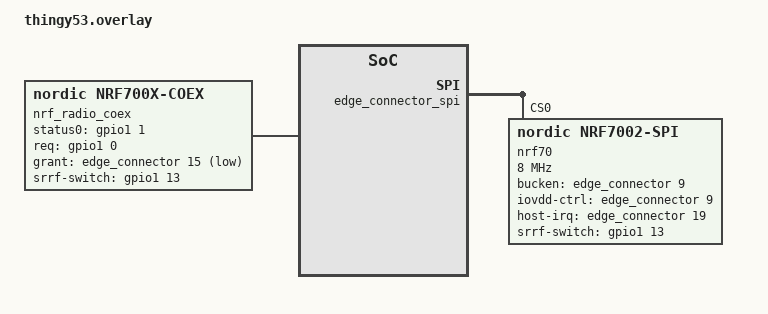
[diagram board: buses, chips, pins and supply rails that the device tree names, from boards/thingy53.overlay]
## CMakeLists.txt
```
cmake_minimum_required(VERSION 3.20.0)
find_package(Zephyr REQUIRED HINTS $ENV{ZEPHYR_BASE})

project(Nordic)

target_sources(app PRIVATE
  src/main.c
  src/led.c
  src/wifi.c
  src/sensor.c
  src/telemetry.c
)
```

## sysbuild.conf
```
SB_CONFIG_NETCORE_NONE=y
SB_CONFIG_SECURE_BOOT_NETCORE=n
SB_CONFIG_WIFI_NRF70=y
```

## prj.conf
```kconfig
CONFIG_SENSOR=y

CONFIG_LED=y
CONFIG_LED_GPIO=y

CONFIG_I2C=y
CONFIG_SPI=y
CONFIG_GPIO=y

# BME688 / BSEC IAQ
CONFIG_BME680=n
CONFIG_BME68X_IAQ=y
CONFIG_FPU=y

# Settings / flash
CONFIG_SETTINGS=y
CONFIG_SETTINGS_FCB=y
CONFIG_FCB=y
CONFIG_FLASH=y
CONFIG_FLASH_PAGE_LAYOUT=y
CONFIG_FLASH_MAP=y
CONFIG_STREAM_FLASH=y
CONFIG_MPU_ALLOW_FLASH_WRITE=y

# Console
CONFIG_CONSOLE=y
CONFIG_UART_CONSOLE=y

# Logging
CONFIG_LOG=y
CONFIG_LOG_DEFAULT_LEVEL=3
CONFIG_NET_LOG=y

# Wi-Fi / nRF7002EB
CONFIG_WIFI=y
CONFIG_WIFI_NRF70=y
CONFIG_WIFI_READY_LIB=y

# WPA supplicant
CONFIG_WIFI_NM_WPA_SUPPLICANT=y

# Wi-Fi credentials
CONFIG_WIFI_CREDENTIALS=y
CONFIG_WIFI_CREDENTIALS_BACKEND_SETTINGS=y
CONFIG_WIFI_CREDENTIALS_MAX_ENTRIES=1

# Networking
CONFIG_NETWORKING=y
CONFIG_NET_L2_WIFI_MGMT=y
CONFIG_NET_L2_ETHERNET=y
CONFIG_NET_IPV4=y
CONFIG_NET_IPV6=n
CONFIG_NET_TCP=y
CONFIG_NET_UDP=y
CONFIG_NET_SOCKETS=y
CONFIG_NET_SOCKETS_DNS_TIMEOUT=5000
CONFIG_NET_SOCKETS_CONNECT_TIMEOUT=10000
CONFIG_NET_SOCKETS_LOG_LEVEL_DBG=y
CONFIG_NET_MAX_CONN=16
CONFIG_NET_DHCPV4=y

CONFIG_NET_MGMT=y
CONFIG_NET_MGMT_EVENT=y

# HTTP
CONFIG_HTTP_CLIENT=y
CONFIG_NET_HTTP_LOG_LEVEL_DBG=y

# TLS
CONFIG_MAIN_STACK_SIZE=8192
CONFIG_NET_SOCKETS_SOCKOPT_TLS=y
CONFIG_NET_SOCKETS_TLS_CONNECT_TIMEOUT=10000
CONFIG_MBEDTLS=y
CONFIG_MBEDTLS_HEAP_SIZE=81920
CONFIG_MBEDTLS_SSL_MAX_CONTENT_LEN=4096
CONFIG_MBEDTLS_SSL_SERVER_NAME_INDICATION=y
CONFIG_MBEDTLS_LEGACY_CRYPTO_C=y
CONFIG_MBEDTLS_RSA_C=y
CONFIG_MBEDTLS_PKCS1_V15=y
CONFIG_MBEDTLS_ECDH_C=y
CONFIG_MBEDTLS_ECDSA_C=y
CONFIG_MBEDTLS_ECP_DP_SECP256R1_ENABLED=y
CONFIG_MBEDTLS_ECP_DP_SECP384R1_ENABLED=y
CONFIG_MBEDTLS_KEY_EXCHANGE_ECDHE_RSA_ENABLED=y
CONFIG_MBEDTLS_KEY_EXCHANGE_ECDHE_ECDSA_ENABLED=y
CONFIG_MBEDTLS_MPI_MAX_SIZE=512
CONFIG_PSA_WANT_KEY_TYPE_ECC_KEY_PAIR_IMPORT=y
CONFIG_PSA_WANT_KEY_TYPE_ECC_KEY_PAIR_EXPORT=y
CONFIG_PSA_WANT_KEY_TYPE_ECC_KEY_PAIR_GENERATE=y
CONFIG_PSA_WANT_KEY_TYPE_ECC_KEY_PAIR_DERIVE=y
CONFIG_PSA_WANT_KEY_TYPE_RSA_KEY_PAIR_IMPORT=y
CONFIG_PSA_WANT_KEY_TYPE_RSA_KEY_PAIR_EXPORT=y
CONFIG_PSA_WANT_KEY_TYPE_RSA_KEY_PAIR_GENERATE=y
CONFIG_PSA_WANT_ECC_SECP_R1_256=y
CONFIG_PSA_WANT_ALG_ECDH=y
CONFIG_PSA_WANT_ALG_ECDSA=y

# DNS
CONFIG_DNS_RESOLVER=y
CONFIG_DNS_SERVER_IP_ADDRESSES=y
```

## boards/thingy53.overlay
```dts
/*
 * Thingy:53 + nRF7002EB
 *
 * Adapted from:
 * https://github.com/Natthakorn05/thingy53-gift
 */

#include <freq.h>

/*
 * nRF7002 radio coexistence
 *
 * These GPIOs are used by the Thingy:53/nRF7002EB
 * short-range radio coexistence interface.
 */
 / {
    nrf_radio_coex: nrf7002-coex {
        status = "okay";
        compatible = "nordic,nrf700x-coex";

        status0-gpios =
            <&gpio1 1 GPIO_ACTIVE_HIGH>;

        req-gpios =
            <&gpio1 0 GPIO_ACTIVE_HIGH>;

        grant-gpios =
            <&edge_connector 15
             (GPIO_PULL_DOWN | GPIO_ACTIVE_LOW)>;

        srrf-switch-gpios =
            <&gpio1 13 GPIO_ACTIVE_HIGH>;
    };

    chosen {
        zephyr,wifi = &wlan0;
    };
};

/*
 * These Thingy:53 peripherals conflict with
 * the nRF7002EB interface.
 */
&npm1100_force_pwm_mode {
    status = "disabled";
};

&uart0 {
    status = "disabled";
};

/*
 * nRF7002EB connected through the Thingy:53
 * edge connector SPI interface.
 */
&edge_connector_spi {
    status = "okay";

    nrf70: nrf7002@0 {
        compatible = "nordic,nrf7002-spi";
        status = "okay";
        reg = <0>;
        spi-max-frequency = <DT_FREQ_M(8)>;

        bucken-gpios =
            <&edge_connector 9
             (GPIO_ACTIVE_HIGH | GPIO_PULL_DOWN)>;

        iovdd-ctrl-gpios =
            <&edge_connector 9
             (GPIO_ACTIVE_HIGH | GPIO_PULL_DOWN)>;

        host-irq-gpios =
            <&edge_connector 19 GPIO_ACTIVE_HIGH>;

        srrf-switch-gpios =
            <&gpio1 13 GPIO_ACTIVE_HIGH>;

        wlan0: wlan0 {
            compatible = "nordic,wlan";
        };

        wlan1: wlan1 {
            compatible = "nordic,wlan";
        };

        wifi-max-tx-pwr-2g-dsss = <21>;
        wifi-max-tx-pwr-2g-mcs0 = <16>;
        wifi-max-tx-pwr-2g-mcs7 = <16>;

        wifi-max-tx-pwr-5g-low-mcs0 = <13>;
        wifi-max-tx-pwr-5g-low-mcs7 = <13>;

        wifi-max-tx-pwr-5g-mid-mcs0 = <13>;
        wifi-max-tx-pwr-5g-mid-mcs7 = <13>;

        wifi-max-tx-pwr-5g-high-mcs0 = <12>;
        wifi-max-tx-pwr-5g-high-mcs7 = <12>;
    };
};
```

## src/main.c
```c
#include <stdio.h>
#include <stdint.h>
#include <errno.h>

#include <zephyr/kernel.h>

#include "led.h"
#include "sensor.h"
#include "telemetry.h"
#include "wifi.h"

#define SAMPLE_INTERVAL_MS 5000

static int connect_to_wifi(void)
{
    int setup_attempt = 0;

    while (true) {
        setup_attempt++;
        uint8_t failure_code = 4;

        printf("\nWi-Fi setup attempt %d (retry group %d/%d)\n",
               setup_attempt,
               ((setup_attempt - 1) % WIFI_CONNECT_ATTEMPTS) + 1,
               WIFI_CONNECT_ATTEMPTS);

        int ret = wifi_connect();

        if (ret == 0) {
            ret = wifi_wait_for_connection();

            if (ret != 0) {
                failure_code = wifi_failure_code(ret);
            }
        }

        if (ret == 0) {
            ret = wifi_wait_for_dhcp();

            if (ret != 0) {
                failure_code = 5;
            }
        }

        if (ret == 0) {
            return 0;
        }

        printf("Wi-Fi setup attempt %d failed: %d. Retrying in %d seconds.\n",
               setup_attempt, ret, WIFI_RETRY_DELAY_SECONDS);

        int disconnect_ret = wifi_disconnect();

        if (disconnect_ret != 0) {
            printf("Wi-Fi disconnect before retry returned: %d\n",
                   disconnect_ret);
        }

        printf("Wi-Fi failure LED code: %u red pulses.\n", failure_code);
        led_failure_code(failure_code);
        k_sleep(K_SECONDS(WIFI_RETRY_DELAY_SECONDS));
    }
}

static int reconnect_to_wifi(void)
{
    printf("Wi-Fi is not connected. Reconnecting...\n");
    led_error();

    int reconnect_ret = -ETIMEDOUT;

    for (int attempt = 1; attempt <= WIFI_CONNECT_ATTEMPTS; attempt++) {
        printf("Reconnection attempt %d/%d\n",
               attempt, WIFI_CONNECT_ATTEMPTS);

        reconnect_ret = wifi_connect();

        if (reconnect_ret == 0) {
            reconnect_ret = wifi_wait_for_connection();
        }

        if (reconnect_ret == 0) {
            reconnect_ret = wifi_wait_for_dhcp();
        }

        if (reconnect_ret == 0) {
            return 0;
        }

        if (attempt < WIFI_CONNECT_ATTEMPTS) {
            led_error();
            k_sleep(K_SECONDS(WIFI_RETRY_DELAY_SECONDS));
        }
    }

    printf("Wi-Fi reconnect failed: %d\n", reconnect_ret);
    return reconnect_ret;
}

int main(void)
{
    if (!led_is_ready()) {
        printf("ERROR: Thingy:53 RGB LED is not ready.\n");
        return 0;
    }

    led_all_off();
    wifi_initialize();

    printf("\nWaiting for Wi-Fi interface...\n");
    k_sleep(K_SECONDS(2));

    int ret = wifi_configure_credentials();

    if (ret != 0) {
        printf("ERROR: Wi-Fi credential setup failed: %d\n", ret);
        led_error();
        return 0;
    }

    connect_to_wifi();
    printf("Wi-Fi and network connection are ready.\n");

    if (sensor_initialize() != 0) {
        led_error();
        return 0;
    }

    printf("Sampling every %d seconds.\n\n", SAMPLE_INTERVAL_MS / 1000);

    while (true) {
        if (!wifi_is_connected() && reconnect_to_wifi() != 0) {
            k_msleep(SAMPLE_INTERVAL_MS);
            continue;
        }

        int64_t sample_start_ms = k_uptime_get();
        struct sensor_readings readings;

        ret = sensor_read(&readings);

        if (ret < 0) {
            led_error();
            k_msleep(SAMPLE_INTERVAL_MS);
            continue;
        }

        sensor_print_readings(&readings);

        uint8_t failure_code = 0;
        ret = telemetry_send(&readings, &failure_code);

        if (ret < 0) {
            printf("Telemetry transmission failed: %d\n", ret);

            if (failure_code > 0) {
                led_failure_code(failure_code);
            } else {
                led_error();
            }
        } else {
            printf("Telemetry transmission completed.\n");
            led_success();
        }

        k_sleep(K_SECONDS(2));
        led_all_off();

        int64_t elapsed_ms = k_uptime_get() - sample_start_ms;

        if (elapsed_ms < SAMPLE_INTERVAL_MS) {
            k_msleep(SAMPLE_INTERVAL_MS - (int32_t)elapsed_ms);
        }
    }

    return 0;
}
```

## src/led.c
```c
#include <zephyr/kernel.h>
#include <zephyr/drivers/led.h>
#include <zephyr/devicetree.h>

#include "led.h"

#define WIFI_FAILURE_PATTERN_CYCLES 3

static const struct led_dt_spec led_red =
    LED_DT_SPEC_GET(DT_ALIAS(led0));

static const struct led_dt_spec led_green =
    LED_DT_SPEC_GET(DT_ALIAS(led1));

static const struct led_dt_spec led_blue =
    LED_DT_SPEC_GET(DT_ALIAS(led2));

bool led_is_ready(void)
{
    return led_is_ready_dt(&led_red) &&
           led_is_ready_dt(&led_green) &&
           led_is_ready_dt(&led_blue);
}

void led_all_off(void)
{
    led_off_dt(&led_red);
    led_off_dt(&led_green);
    led_off_dt(&led_blue);
}

void led_wifi_connecting(void)
{
    led_all_off();
    led_on_dt(&led_blue);
}

void led_wifi_connecting_blink(bool blue_on)
{
    if (blue_on) {
        led_on_dt(&led_blue);
    } else {
        led_all_off();
    }
}

void led_error(void)
{
    led_all_off();
    led_on_dt(&led_red);
}

void led_failure_code(uint8_t code)
{
    for (int cycle = 0; cycle < WIFI_FAILURE_PATTERN_CYCLES; cycle++) {
        for (uint8_t pulse = 0; pulse < code; pulse++) {
            led_on_dt(&led_red);
            k_msleep(250);
            led_all_off();
            k_msleep(250);
        }

        k_sleep(K_MSEC(1000));
    }
}

void led_waiting_network(void)
{
    led_all_off();
    led_on_dt(&led_red);
    led_on_dt(&led_green);
}

void led_network_ready(void)
{
    led_all_off();
    led_on_dt(&led_green);
    led_on_dt(&led_blue);
}

void led_dns_lookup(void)
{
    led_all_off();
    led_on_dt(&led_blue);
}

void led_https_connecting(void)
{
    led_all_off();
    led_on_dt(&led_red);
    led_on_dt(&led_blue);
}

void led_http_posting(void)
{
    led_all_off();
    led_on_dt(&led_red);
    led_on_dt(&led_green);
}

void led_success(void)
{
    led_all_off();
    led_on_dt(&led_green);
}
```

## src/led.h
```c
#ifndef LED_H
#define LED_H

#include <stdbool.h>
#include <stdint.h>

bool led_is_ready(void);
void led_all_off(void);
void led_error(void);
void led_failure_code(uint8_t code);
void led_wifi_connecting(void);
void led_wifi_connecting_blink(bool blue_on);
void led_waiting_network(void);
void led_network_ready(void);
void led_dns_lookup(void);
void led_https_connecting(void);
void led_http_posting(void);
void led_success(void);

#endif
```

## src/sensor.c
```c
#include <stdio.h>
#include <errno.h>

#include <zephyr/device.h>
#include <zephyr/drivers/sensor.h>
#include <zephyr/kernel.h>

#include <drivers/bme68x_iaq.h>

#include "sensor.h"

static const struct device *const bme688 =
    DEVICE_DT_GET(DT_NODELABEL(bme688));

int sensor_initialize(void)
{
    if (!device_is_ready(bme688)) {
        printf("\nERROR: BME688 sensor is not ready!\n");
        return -ENODEV;
    }

    printf("\n");
    printf("========================================\n");
    printf(" Thingy:53 BME688 Home Environment Monitor\n");
    printf("========================================\n");
    printf("BME688 initialized successfully.\n");

    return 0;
}

static int read_channel(enum sensor_channel channel,
                        struct sensor_value *value,
                        const char *name)
{
    int ret = sensor_channel_get(bme688, channel, value);

    if (ret < 0) {
        printf("ERROR: Failed to read %s: %d\n", name, ret);
    }

    return ret;
}

int sensor_read(struct sensor_readings *readings)
{
    if (readings == NULL) {
        return -EINVAL;
    }

    int ret = sensor_sample_fetch(bme688);

    if (ret < 0) {
        printf("ERROR: Sensor fetch failed: %d\n", ret);
        return ret;
    }

    struct sensor_value temperature;
    struct sensor_value humidity;
    struct sensor_value pressure;
    struct sensor_value iaq;
    struct sensor_value iaq_accuracy;
    struct sensor_value co2;
    struct sensor_value voc;
    struct sensor_value gas_run_in;
    struct sensor_value gas_stability;

    if ((ret = read_channel(SENSOR_CHAN_AMBIENT_TEMP, &temperature,
                            "temperature")) < 0 ||
        (ret = read_channel(SENSOR_CHAN_HUMIDITY, &humidity,
                            "humidity")) < 0 ||
        (ret = read_channel(SENSOR_CHAN_PRESS, &pressure,
                            "pressure")) < 0 ||
        (ret = read_channel(SENSOR_CHAN_IAQ, &iaq, "IAQ")) < 0 ||
        (ret = read_channel(SENSOR_CHAN_IAQ_ACC, &iaq_accuracy,
                            "IAQ accuracy")) < 0 ||
        (ret = read_channel(SENSOR_CHAN_CO2, &co2,
                            "CO2 equivalent")) < 0 ||
        (ret = read_channel(SENSOR_CHAN_VOC, &voc,
                            "VOC equivalent")) < 0 ||
        (ret = read_channel(SENSOR_CHAN_GAS_RUN_IN, &gas_run_in,
                            "gas run-in status")) < 0 ||
        (ret = read_channel(SENSOR_CHAN_GAS_STAB, &gas_stability,
                            "gas stability")) < 0) {
        return ret;
    }

    readings->temperature_c = sensor_value_to_double(&temperature);
    readings->humidity_pct = sensor_value_to_double(&humidity);
    readings->pressure_hpa = sensor_value_to_double(&pressure) / 100.0;
    readings->co2_ppm = sensor_value_to_double(&co2);
    readings->voc_ppm = sensor_value_to_double(&voc);
    readings->iaq = iaq.val1;
    readings->iaq_accuracy = iaq_accuracy.val1;
    readings->gas_run_in = gas_run_in.val1;
    readings->gas_stability = gas_stability.val1;

    return 0;
}

void sensor_print_readings(const struct sensor_readings *readings)
{
    printf("----------------------------------------\n");
    printf("Temperature : %7.2f °C\n", readings->temperature_c);
    printf("Humidity    : %7.2f %%\n", readings->humidity_pct);
    printf("Pressure    : %7.2f hPa (%6.2f kPa)\n",
           readings->pressure_hpa, readings->pressure_hpa / 10.0);
    printf("\n");
    printf("IAQ         : %7d\n", readings->iaq);
    printf("IAQ accuracy: %7d\n", readings->iaq_accuracy);
    printf("CO2 eq.     : %7.1f ppm\n", readings->co2_ppm);
    printf("VOC eq.     : %7.2f ppm\n", readings->voc_ppm);
    printf("\n");
    printf("Gas run-in  : %7d\n", readings->gas_run_in);
    printf("Gas stable  : %7d\n", readings->gas_stability);
    printf("----------------------------------------\n");
}
```

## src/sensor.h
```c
#ifndef SENSOR_H
#define SENSOR_H

struct sensor_readings {
    double temperature_c;
    double humidity_pct;
    double pressure_hpa;
    double co2_ppm;
    double voc_ppm;
    int iaq;
    int iaq_accuracy;
    int gas_run_in;
    int gas_stability;
};

int sensor_initialize(void);
int sensor_read(struct sensor_readings *readings);
void sensor_print_readings(const struct sensor_readings *readings);

#endif
```

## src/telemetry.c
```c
#include <stdio.h>
#include <string.h>
#include <stdint.h>
#include <errno.h>

#include <zephyr/kernel.h>
#include <zephyr/net/dns_resolve.h>
#include <zephyr/net/socket.h>
#include <zephyr/net/http/client.h>

#include "led.h"
#include "telemetry.h"

#define TELEMETRY_HOST "www.cc.puv.fi"
#define TELEMETRY_PORT "443"
#define TELEMETRY_PORT_NUMBER 443
#define TELEMETRY_PATH "/~e2301774/Dashboard/telemetry.php"
#define TELEMETRY_HTTP_TIMEOUT_MS 10000

static volatile bool http_response_received;
static volatile uint16_t http_status_code;

K_SEM_DEFINE(telemetry_dns_sem, 0, 1);
static struct net_sockaddr telemetry_server_addr;
static net_socklen_t telemetry_server_addr_len;
static uint16_t telemetry_dns_query_id;
static bool telemetry_dns_address_found;
static int telemetry_dns_result;

static void telemetry_dns_callback(enum dns_resolve_status status,
                                   struct dns_addrinfo *info,
                                   void *user_data)
{
    ARG_UNUSED(user_data);

    if (status == DNS_EAI_INPROGRESS) {
        if (info != NULL &&
            info->ai_family == NET_AF_INET &&
            info->ai_addrlen > 0 &&
            info->ai_addrlen <= sizeof(telemetry_server_addr)) {
            memcpy(&telemetry_server_addr, &info->ai_addr, info->ai_addrlen);
            telemetry_server_addr_len = info->ai_addrlen;
            telemetry_dns_address_found = true;
        }

        return;
    }

    if (status == DNS_EAI_ALLDONE && telemetry_dns_address_found) {
        telemetry_dns_result = 0;
    } else {
        telemetry_dns_result = -EHOSTUNREACH;
    }

    k_sem_give(&telemetry_dns_sem);
}

static int http_response_callback(struct http_response *response,
                                  enum http_final_call final_data,
                                  void *user_data)
{
    ARG_UNUSED(user_data);

    if (response == NULL) {
        printf("ERROR: HTTP response was NULL.\n");
        return 0;
    }

    if (final_data == HTTP_DATA_FINAL) {
        http_response_received = true;
        http_status_code = response->http_status_code;
        printf("HTTP response received. Status code: %u\n",
               response->http_status_code);
        printf("HTTP status: %s\n", response->http_status);
    }

    return 0;
}

int telemetry_send(const struct sensor_readings *readings,
                   uint8_t *failure_code)
{
    if (readings == NULL || failure_code == NULL) {
        return -EINVAL;
    }

    *failure_code = 0;

    char payload[512];
    int payload_len = snprintf(
        payload,
        sizeof(payload),
        "{"
        "\"temperature\":%.2f,"
        "\"humidity\":%.2f,"
        "\"pressure\":%.2f,"
        "\"iaq\":%d,"
        "\"iaq_accuracy\":%d,"
        "\"co2\":%.1f,"
        "\"voc\":%.2f,"
        "\"gas_stability\":%d"
        "}",
        readings->temperature_c,
        readings->humidity_pct,
        readings->pressure_hpa,
        readings->iaq,
        readings->iaq_accuracy,
        readings->co2_ppm,
        readings->voc_ppm,
        readings->gas_stability
    );

    if (payload_len < 0 || payload_len >= sizeof(payload)) {
        printf("ERROR: Telemetry payload too large.\n");
        *failure_code = 8;
        return -ENOMEM;
    }

    printf("Sending telemetry...\n");
    led_dns_lookup();
    printf("Resolving telemetry server hostname...\n");

    k_sem_reset(&telemetry_dns_sem);
    telemetry_dns_address_found = false;
    telemetry_dns_result = -EHOSTUNREACH;
    telemetry_server_addr_len = 0;

    int ret = dns_get_addr_info(
        TELEMETRY_HOST,
        DNS_QUERY_TYPE_A,
        &telemetry_dns_query_id,
        telemetry_dns_callback,
        NULL,
        CONFIG_NET_SOCKETS_DNS_TIMEOUT
    );

    if (ret < 0) {
        printf("ERROR: Could not start DNS lookup: %d\n", ret);
        *failure_code = 6;
        return ret;
    }

    ret = k_sem_take(
        &telemetry_dns_sem,
        K_MSEC(CONFIG_NET_SOCKETS_DNS_TIMEOUT + 500)
    );

    if (ret < 0) {
        int cancel_ret = dns_cancel_addr_info(telemetry_dns_query_id);

        if (cancel_ret < 0) {
            printf("DNS query cancellation returned: %d\n", cancel_ret);
        }

        printf("ERROR: DNS lookup exceeded %d ms.\n",
               CONFIG_NET_SOCKETS_DNS_TIMEOUT);
        *failure_code = 6;
        return -ETIMEDOUT;
    }

    if (telemetry_dns_result < 0) {
        printf("ERROR: DNS lookup failed: %d\n", telemetry_dns_result);
        *failure_code = 6;
        return telemetry_dns_result;
    }

    printf("DNS lookup successful.\n");
    net_sin(&telemetry_server_addr)->sin_port =
        net_htons(TELEMETRY_PORT_NUMBER);

    int sock = zsock_socket(AF_INET, SOCK_STREAM, IPPROTO_TLS_1_2);

    if (sock < 0) {
        int err = errno;
        printf("ERROR: Could not create TLS socket: %d\n", err);
        *failure_code = 7;
        return -err;
    }

    printf("TLS socket created. Connecting to HTTPS server on port %d...\n",
           TELEMETRY_PORT_NUMBER);

    int verify = ZSOCK_TLS_PEER_VERIFY_NONE;
    ret = zsock_setsockopt(
        sock,
        ZSOCK_SOL_TLS,
        ZSOCK_TLS_PEER_VERIFY,
        &verify,
        sizeof(verify)
    );

    if (ret < 0) {
        int err = errno;
        printf("ERROR: Could not configure TLS verification: %d\n", err);
        zsock_close(sock);
        *failure_code = 7;
        return -err;
    }

    ret = zsock_setsockopt(
        sock,
        ZSOCK_SOL_TLS,
        ZSOCK_TLS_HOSTNAME,
        TELEMETRY_HOST,
        strlen(TELEMETRY_HOST) + 1
    );

    if (ret < 0) {
        int err = errno;
        printf("ERROR: Could not set TLS hostname: %d\n", err);
        zsock_close(sock);
        *failure_code = 7;
        return -err;
    }

    led_https_connecting();
    ret = zsock_connect(sock, &telemetry_server_addr,
                        telemetry_server_addr_len);
    led_all_off();

    if (ret < 0) {
        int err = errno;
        int socket_error = 0;
        net_socklen_t socket_error_len = sizeof(socket_error);

        printf("ERROR: HTTPS connection failed: %d\n", err);
        int getsockopt_ret = zsock_getsockopt(
            sock,
            ZSOCK_SOL_SOCKET,
            ZSOCK_SO_ERROR,
            &socket_error,
            &socket_error_len
        );

        if (getsockopt_ret == 0) {
            printf("TLS socket internal error: %d\n", socket_error);
        } else {
            printf("Could not read TLS socket error: %d\n", errno);
        }

        zsock_close(sock);
        *failure_code =
            (err == ENOENT && socket_error == 0) ? 9 : 7;
        return -err;
    }

    printf("HTTPS connection established.\n");

    static uint8_t recv_buf[512];
    http_response_received = false;
    http_status_code = 0;

    struct http_request request = {0};
    request.method = HTTP_POST;
    request.url = TELEMETRY_PATH;
    request.host = TELEMETRY_HOST;
    request.port = TELEMETRY_PORT;
    request.protocol = "HTTP/1.1";
    request.content_type_value = "application/json";
    request.payload = payload;
    request.payload_len = payload_len;
    request.recv_buf = recv_buf;
    request.recv_buf_len = sizeof(recv_buf);
    request.response = http_response_callback;

    printf("Sending HTTPS POST request...\n");
    led_http_posting();
    ret = http_client_req(sock, &request, TELEMETRY_HTTP_TIMEOUT_MS, NULL);
    led_all_off();

    if (ret < 0) {
        printf("ERROR: HTTP POST failed: %d\n", ret);
        zsock_close(sock);
        *failure_code = 8;
        return ret;
    }

    printf("HTTP request completed.\n");
    zsock_close(sock);

    if (!http_response_received) {
        printf("ERROR: No final HTTP response received.\n");
        *failure_code = 8;
        return -EIO;
    }

    if (http_status_code != 200) {
        printf("ERROR: Server returned HTTP status %u.\n", http_status_code);
        *failure_code = 8;
        return -EIO;
    }

    printf("Telemetry accepted by server.\n");
    led_success();
    return 0;
}
```

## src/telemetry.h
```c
#ifndef TELEMETRY_H
#define TELEMETRY_H

#include <stdint.h>

#include "sensor.h"

int telemetry_send(const struct sensor_readings *readings,
                   uint8_t *failure_code);

#endif
```

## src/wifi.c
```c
#include <stdio.h>
#include <string.h>
#include <stdint.h>
#include <errno.h>
#include <stdbool.h>

#include <zephyr/kernel.h>
#include <zephyr/net/net_if.h>
#include <zephyr/net/net_mgmt.h>
#include <zephyr/net/wifi_mgmt.h>
#include <zephyr/net/wifi_credentials.h>

#include "led.h"
#include "wifi.h"
#include "wifi_config.h"

#define WIFI_TIMEOUT_SECONDS 30
#define WIFI_REQUEST_TIMEOUT_SECONDS 15
#define DHCP_TIMEOUT_SECONDS 15

static struct net_mgmt_event_callback wifi_cb;
static struct net_mgmt_event_callback net_cb;

static volatile bool wifi_connected;
static volatile bool wifi_connect_result_received;
static volatile bool dhcp_bound;
static volatile int wifi_connect_status = -1;

struct saved_wifi_network {
    char ssid[WIFI_SSID_MAX_LEN];
    size_t ssid_len;
    bool found;
};

struct wifi_connect_job {
    struct net_if *iface;
    struct wifi_connect_req_params params;
    struct wifi_credentials_personal credentials;
    int result;
};

static struct wifi_connect_job wifi_job;
static struct k_sem wifi_request_sem;
static struct k_sem wifi_request_done_sem;
static struct k_thread wifi_request_thread;
static K_THREAD_STACK_DEFINE(wifi_request_stack, 4096);
static bool wifi_request_worker_started;
static bool wifi_request_in_progress;

static void wifi_event_handler(struct net_mgmt_event_callback *cb,
                               uint64_t event,
                               struct net_if *iface)
{
    ARG_UNUSED(iface);

    if (event == NET_EVENT_WIFI_CONNECT_RESULT) {
        const struct wifi_status *status =
            (const struct wifi_status *)cb->info;

        wifi_connect_result_received = true;

        if (status == NULL) {
            wifi_connect_status = -EINVAL;
            wifi_connected = false;
            printf("Wi-Fi connection result received without status.\n");
            led_error();
            return;
        }

        wifi_connect_status = status->status;

        if (status->status == WIFI_STATUS_CONN_SUCCESS) {
            wifi_connected = true;
            printf("Wi-Fi connected successfully.\n");
            led_waiting_network();
        } else {
            wifi_connected = false;
            printf("Wi-Fi connection failed. Status: %d\n",
                   status->status);

            if (status->status == WIFI_STATUS_CONN_WRONG_PASSWORD) {
                printf("Reason: WRONG PASSWORD\n");
            } else if (status->status == WIFI_STATUS_CONN_TIMEOUT) {
                printf("Reason: CONNECTION TIMEOUT\n");
            } else if (status->status == WIFI_STATUS_CONN_AP_NOT_FOUND) {
                printf("Reason: ACCESS POINT NOT FOUND\n");
            } else {
                printf("Reason: UNKNOWN WIFI ERROR\n");
            }

            led_error();
        }
    }

    if (event == NET_EVENT_WIFI_DISCONNECT_RESULT) {
        wifi_connected = false;
        dhcp_bound = false;
        printf("Wi-Fi disconnected.\n");
        led_error();
    }
}

static void net_event_handler(struct net_mgmt_event_callback *cb,
                              uint64_t event,
                              struct net_if *iface)
{
    ARG_UNUSED(cb);
    ARG_UNUSED(iface);

    if (event == NET_EVENT_IPV4_DHCP_BOUND) {
        dhcp_bound = true;
        printf("DHCP completed successfully.\n");
        led_network_ready();
    }
}

int wifi_initialize(void)
{
    net_mgmt_init_event_callback(
        &wifi_cb,
        wifi_event_handler,
        NET_EVENT_WIFI_CONNECT_RESULT |
            NET_EVENT_WIFI_DISCONNECT_RESULT
    );
    net_mgmt_add_event_callback(&wifi_cb);

    net_mgmt_init_event_callback(
        &net_cb,
        net_event_handler,
        NET_EVENT_IPV4_DHCP_BOUND
    );
    net_mgmt_add_event_callback(&net_cb);

    return 0;
}

int wifi_configure_credentials(void)
{
    bool ssid_configured = WIFI_SSID[0] != '\0';
    bool password_configured = WIFI_PASSWORD[0] != '\0';

    if (!ssid_configured && !password_configured) {
        if (wifi_credentials_is_empty()) {
            printf("ERROR: No Wi-Fi credentials are configured or saved on this device.\n");
            led_error();
            return -ENOENT;
        }

        printf("Using Wi-Fi credentials saved in device settings.\n");
        return 0;
    }

    if (!ssid_configured || !password_configured) {
        printf("ERROR: Both WIFI_SSID and WIFI_PASSWORD must be set, or both left empty to use saved credentials.\n");
        led_error();
        return -EINVAL;
    }

    int ret = wifi_credentials_set_personal(
        WIFI_SSID,
        strlen(WIFI_SSID),
        WIFI_SECURITY_TYPE_PSK,
        NULL,
        0,
        WIFI_PASSWORD,
        strlen(WIFI_PASSWORD),
        0,
        WIFI_CHANNEL_ANY,
        WIFI_TIMEOUT_SECONDS
    );

    if (ret == -ENOBUFS) {
        printf("Wi-Fi credential store is full; replacing saved networks with the firmware-configured network.\n");

        ret = wifi_credentials_delete_all();

        if (ret != 0) {
            printf("ERROR: Failed to clear saved Wi-Fi credentials: %d\n",
                   ret);
            led_error();
            return ret;
        }

        ret = wifi_credentials_set_personal(
            WIFI_SSID,
            strlen(WIFI_SSID),
            WIFI_SECURITY_TYPE_PSK,
            NULL,
            0,
            WIFI_PASSWORD,
            strlen(WIFI_PASSWORD),
            0,
            WIFI_CHANNEL_ANY,
            WIFI_TIMEOUT_SECONDS
        );
    }

    if (ret != 0) {
        printf("ERROR: Failed to store Wi-Fi credentials: %d\n", ret);
        led_error();
        return ret;
    }

    printf("Wi-Fi credentials stored successfully.\n");
    return 0;
}

static void get_first_saved_wifi_ssid(void *user_data,
                                      const char *ssid,
                                      size_t ssid_len)
{
    struct saved_wifi_network *network = user_data;

    if (network->found || ssid_len == 0 ||
        ssid_len > sizeof(network->ssid)) {
        return;
    }

    memcpy(network->ssid, ssid, ssid_len);
    network->ssid_len = ssid_len;
    network->found = true;
}

static void wifi_request_worker(void *arg1, void *arg2, void *arg3)
{
    ARG_UNUSED(arg1);
    ARG_UNUSED(arg2);
    ARG_UNUSED(arg3);

    while (true) {
        k_sem_take(&wifi_request_sem, K_FOREVER);
        wifi_job.result = net_mgmt(
            NET_REQUEST_WIFI_CONNECT,
            wifi_job.iface,
            &wifi_job.params,
            sizeof(wifi_job.params)
        );
        k_sem_give(&wifi_request_done_sem);
    }
}

static void wifi_request_worker_start(void)
{
    if (wifi_request_worker_started) {
        return;
    }

    k_sem_init(&wifi_request_sem, 0, 1);
    k_sem_init(&wifi_request_done_sem, 0, 1);
    k_thread_create(
        &wifi_request_thread,
        wifi_request_stack,
        K_THREAD_STACK_SIZEOF(wifi_request_stack),
        wifi_request_worker,
        NULL,
        NULL,
        NULL,
        K_PRIO_PREEMPT(5),
        0,
        K_NO_WAIT
    );
    wifi_request_worker_started = true;
}

int wifi_connect(void)
{
    struct net_if *iface = net_if_get_first_wifi();

    if (iface == NULL) {
        printf("ERROR: No Wi-Fi interface found.\n");
        led_error();
        return -ENODEV;
    }

    wifi_request_worker_start();

    if (wifi_request_in_progress) {
        if (k_sem_take(&wifi_request_done_sem, K_NO_WAIT) == 0) {
            wifi_request_in_progress = false;
        } else {
            printf("ERROR: Previous Wi-Fi driver request is still running.\n");
            led_error();
            return -EBUSY;
        }
    }

    if (wifi_connected) {
        return 0;
    }

    struct saved_wifi_network network = {0};

    if (WIFI_SSID[0] != '\0') {
        network.ssid_len = strlen(WIFI_SSID);

        if (network.ssid_len > sizeof(network.ssid)) {
            printf("ERROR: Configured Wi-Fi SSID is too long.\n");
            led_error();
            return -EINVAL;
        }

        memcpy(network.ssid, WIFI_SSID, network.ssid_len);
        network.found = true;
    } else {
        wifi_credentials_for_each_ssid(get_first_saved_wifi_ssid, &network);
    }

    if (!network.found) {
        printf("ERROR: No saved Wi-Fi network is available to connect to.\n");
        led_error();
        return -ENOENT;
    }

    memset(&wifi_job.credentials, 0, sizeof(wifi_job.credentials));
    int ret = wifi_credentials_get_by_ssid_personal_struct(
        network.ssid,
        network.ssid_len,
        &wifi_job.credentials
    );

    if (ret != 0) {
        printf("ERROR: Could not load saved Wi-Fi credentials: %d\n", ret);
        led_error();
        return ret;
    }

    struct wifi_connect_req_params params = {
        .ssid = (const uint8_t *)wifi_job.credentials.header.ssid,
        .ssid_length = wifi_job.credentials.header.ssid_len,
        .psk = (const uint8_t *)wifi_job.credentials.password,
        .psk_length = wifi_job.credentials.password_len,
        .channel = wifi_job.credentials.header.channel,
        .security = wifi_job.credentials.header.type,
        .mfp = WIFI_MFP_OPTIONAL,
        .timeout = wifi_job.credentials.header.timeout != 0
                       ? wifi_job.credentials.header.timeout
                       : WIFI_TIMEOUT_SECONDS,
    };

    if (wifi_job.credentials.header.flags & WIFI_CREDENTIALS_FLAG_2_4GHz) {
        params.band = WIFI_FREQ_BAND_2_4_GHZ;
    } else if (wifi_job.credentials.header.flags & WIFI_CREDENTIALS_FLAG_5GHz) {
        params.band = WIFI_FREQ_BAND_5_GHZ;
    } else if (wifi_job.credentials.header.flags & WIFI_CREDENTIALS_FLAG_6GHz) {
        params.band = WIFI_FREQ_BAND_6_GHZ;
    } else {
        params.band = WIFI_FREQ_BAND_UNKNOWN;
    }

    if (wifi_job.credentials.header.flags & WIFI_CREDENTIALS_FLAG_MFP_DISABLED) {
        params.mfp = WIFI_MFP_DISABLE;
    } else if (wifi_job.credentials.header.flags & WIFI_CREDENTIALS_FLAG_MFP_REQUIRED) {
        params.mfp = WIFI_MFP_REQUIRED;
    }

    if (params.security == WIFI_SECURITY_TYPE_SAE) {
        params.sae_password =
            (const uint8_t *)wifi_job.credentials.password;
        params.sae_password_length = wifi_job.credentials.password_len;
        params.psk = NULL;
        params.psk_length = 0;
    }

    wifi_job.iface = iface;
    wifi_job.params = params;
    wifi_connected = false;
    wifi_connect_result_received = false;
    wifi_connect_status = -1;
    dhcp_bound = false;

    led_wifi_connecting();
    printf("Connecting to saved Wi-Fi network...\n");

    wifi_request_in_progress = true;
    k_sem_reset(&wifi_request_done_sem);
    k_sem_give(&wifi_request_sem);

    bool blue_on = true;

    for (int tick = 0; tick < WIFI_REQUEST_TIMEOUT_SECONDS * 4; tick++) {
        if (k_sem_take(&wifi_request_done_sem, K_MSEC(250)) == 0) {
            wifi_request_in_progress = false;
            ret = wifi_job.result;
            printf("Wi-Fi connection request returned: %d\n", ret);
            break;
        }

        led_wifi_connecting_blink(blue_on);
        blue_on = !blue_on;
    }

    if (wifi_request_in_progress) {
        printf("ERROR: Wi-Fi driver request did not return within %d seconds.\n",
               WIFI_REQUEST_TIMEOUT_SECONDS);
        return -EBUSY;
    }

    if (ret != 0 && ret != -EALREADY) {
        printf("Wi-Fi connection request failed: %d\n", ret);
        led_error();
        return ret;
    }

    printf("Wi-Fi connection request sent.\n");
    return 0;
}

int wifi_wait_for_connection(void)
{
    printf("Waiting for Wi-Fi connection result...\n");

    bool blue_on = true;
    int wait_ticks = WIFI_TIMEOUT_SECONDS * 4;

    for (int tick = 0; tick < wait_ticks; tick++) {
        if (wifi_connect_result_received) {
            break;
        }

        led_wifi_connecting_blink(blue_on);
        blue_on = !blue_on;
        k_msleep(250);
    }

    if (!wifi_connect_result_received) {
        printf("ERROR: Wi-Fi connection timed out after %d seconds.\n",
               WIFI_TIMEOUT_SECONDS);
        led_error();
        return -ETIMEDOUT;
    }

    if (!wifi_connected) {
        printf("ERROR: Wi-Fi connection failed with status %d.\n",
               wifi_connect_status);
        led_error();
        return -ECONNREFUSED;
    }

    printf("Wi-Fi connection confirmed.\n");
    led_waiting_network();
    return 0;
}

uint8_t wifi_failure_code(int error)
{
    if (error == -ETIMEDOUT) {
        return 3;
    }

    if (!wifi_connect_result_received) {
        return 4;
    }

    switch (wifi_connect_status) {
    case WIFI_STATUS_CONN_AP_NOT_FOUND:
        return 1;
    case WIFI_STATUS_CONN_WRONG_PASSWORD:
        return 2;
    case WIFI_STATUS_CONN_TIMEOUT:
        return 3;
    default:
        return 4;
    }
}

int wifi_wait_for_dhcp(void)
{
    printf("Waiting for DHCP...\n");
    led_waiting_network();

    for (int seconds = 0; seconds < DHCP_TIMEOUT_SECONDS; seconds++) {
        if (dhcp_bound) {
            printf("Network is ready.\n");
            led_network_ready();
            return 0;
        }

        k_sleep(K_SECONDS(1));
    }

    printf("ERROR: DHCP did not complete within %d seconds.\n",
           DHCP_TIMEOUT_SECONDS);
    led_error();
    return -ETIMEDOUT;
}

bool wifi_is_connected(void)
{
    return wifi_connected;
}

int wifi_disconnect(void)
{
    struct net_if *iface = net_if_get_first_wifi();

    if (iface == NULL || !wifi_connected) {
        return 0;
    }

    int ret = net_mgmt(NET_REQUEST_WIFI_DISCONNECT, iface, NULL, 0);
    return ret;
}
```

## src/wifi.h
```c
#ifndef WIFI_H
#define WIFI_H

#include <stdbool.h>
#include <stdint.h>

#define WIFI_CONNECT_ATTEMPTS 3
#define WIFI_RETRY_DELAY_SECONDS 2

int wifi_initialize(void);
int wifi_configure_credentials(void);
int wifi_connect(void);
int wifi_wait_for_connection(void);
int wifi_wait_for_dhcp(void);
uint8_t wifi_failure_code(int error);
bool wifi_is_connected(void);
int wifi_disconnect(void);

#endif
```
